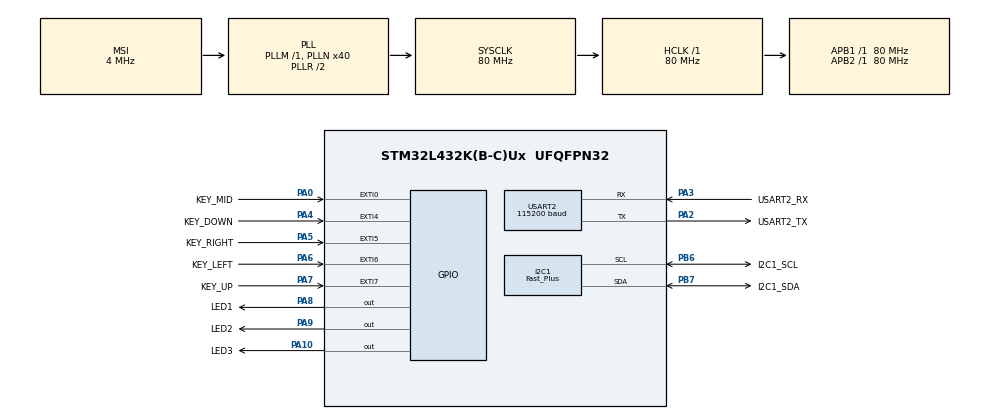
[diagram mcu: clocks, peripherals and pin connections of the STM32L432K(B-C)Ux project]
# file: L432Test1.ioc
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FREERTOS.INCLUDE_xTaskGetHandle=1
FREERTOS.Tasks01=defaultTask,0,128,StartDefaultTask,Default,NULL
FREERTOS.configGENERATE_RUN_TIME_STATS=1
FREERTOS.configMINIMAL_STACK_SIZE=64
FREERTOS.configUSE_STATS_FORMATTING_FUNCTIONS=1
FREERTOS.configUSE_TRACE_FACILITY=1
I2C1.I2C_Fall_Time=2
I2C1.I2C_Rise_Time=1
I2C1.I2C_Speed_Mode=I2C_Fast_Plus
I2C1.Timing=0x00400F33
Mcu.Family=STM32L4
Mcu.Name=STM32L432K(B-C)Ux
Mcu.Package=UFQFPN32
NVIC.EXTI0_IRQn=true\:4\:0\:true\:false\:true\:false\:true
NVIC.EXTI4_IRQn=true\:4\:0\:true\:false\:true\:false\:true
NVIC.EXTI9_5_IRQn=true\:4\:0\:true\:false\:true\:false\:true
NVIC.PriorityGroup=NVIC_PRIORITYGROUP_4
NVIC.TIM1_UP_TIM16_IRQn=true\:0\:0\:false\:false\:true\:false\:false
NVIC.TIM2_IRQn=true\:5\:0\:false\:false\:true\:true\:true
NVIC.TimeBase=TIM1_UP_TIM16_IRQn
NVIC.TimeBaseIP=TIM1
NVIC.USART2_IRQn=true\:4\:0\:true\:false\:true\:false\:true
PA0.GPIO_Label=KEY_MID
PA0.GPIO_ModeDefaultEXTI=GPIO_MODE_IT_RISING_FALLING
PA0.GPIO_PuPd=GPIO_PULLUP
PA0.Signal=GPXTI0
PA10.GPIO_Label=LED3
PA10.PinState=GPIO_PIN_SET
PA10.Signal=GPIO_Output
PA13\ (JTMS-SWDIO).Mode=Serial_Wire
PA13\ (JTMS-SWDIO).Signal=SYS_JTMS-SWDIO
PA14\ (JTCK-SWCLK).Mode=Serial_Wire
PA14\ (JTCK-SWCLK).Signal=SYS_JTCK-SWCLK
PA2.GPIO_Label=USART2_TX
PA2.Mode=Asynchronous
PA2.Signal=USART2_TX
PA3.GPIO_Label=USART2_RX
PA3.Mode=Asynchronous
PA3.Signal=USART2_RX
PA4.GPIO_Label=KEY_DOWN
PA4.GPIO_ModeDefaultEXTI=GPIO_MODE_IT_RISING_FALLING
PA4.GPIO_PuPd=GPIO_PULLUP
PA4.Signal=GPXTI4
PA5.GPIO_Label=KEY_RIGHT
PA5.GPIO_ModeDefaultEXTI=GPIO_MODE_IT_RISING_FALLING
PA5.GPIO_PuPd=GPIO_PULLUP
PA5.Signal=GPXTI5
PA6.GPIO_Label=KEY_LEFT
PA6.GPIO_ModeDefaultEXTI=GPIO_MODE_IT_RISING_FALLING
PA6.GPIO_PuPd=GPIO_PULLUP
PA6.Signal=GPXTI6
PA7.GPIO_Label=KEY_UP
PA7.GPIO_ModeDefaultEXTI=GPIO_MODE_IT_RISING_FALLING
PA7.GPIO_PuPd=GPIO_PULLUP
PA7.Signal=GPXTI7
PA8.GPIO_Label=LED1
PA8.PinState=GPIO_PIN_SET
PA8.Signal=GPIO_Output
PA9.GPIO_Label=LED2
PA9.PinState=GPIO_PIN_SET
PA9.Signal=GPIO_Output
PB6.GPIO_Label=I2C1_SCL
PB6.Mode=I2C
PB6.Signal=I2C1_SCL
PB7.GPIO_Label=I2C1_SDA
PB7.Mode=I2C
PB7.Signal=I2C1_SDA
PC14-OSC32_IN\ (PC14).Mode=LSE-External-Oscillator
PC14-OSC32_IN\ (PC14).Signal=RCC_OSC32_IN
PC15-OSC32_OUT\ (PC15).Mode=LSE-External-Oscillator
PC15-OSC32_OUT\ (PC15).Signal=RCC_OSC32_OUT
ProjectManager.HeapSize=0x200
ProjectManager.StackSize=0x400
ProjectManager.TargetToolchain=EWARM V8
RCC.ADCFreq_Value=16000000
RCC.AHBFreq_Value=80000000
RCC.APB1Freq_Value=80000000
RCC.APB1TimFreq_Value=80000000
RCC.APB2Freq_Value=80000000
RCC.APB2TimFreq_Value=80000000
RCC.CortexFreq_Value=80000000
RCC.HCLKFreq_Value=80000000
RCC.HSE_VALUE=8000000
RCC.HSI48_VALUE=48000000
RCC.HSI_VALUE=16000000
RCC.MSI_VALUE=4000000
RCC.PLLN=40
RCC.RTCClockSelection=RCC_RTCCLKSOURCE_LSE
RCC.SYSCLKFreq_VALUE=80000000
RCC.SYSCLKSource=RCC_SYSCLKSOURCE_PLLCLK
RCC.USBFreq_Value=16000000
RCC.VCOOutputFreq_Value=160000000
RTC.Date=20
RTC.Format=RTC_FORMAT_BIN
RTC.HourFormat=RTC_HOURFORMAT_24
RTC.Hours=8
RTC.Minutes=50
RTC.Month=RTC_MONTH_NOVEMBER
RTC.Seconds=0
RTC.WeekDay=RTC_WEEKDAY_TUESDAY
RTC.Year=18
TIM2.Period=49
TIM2.Prescaler=89
USART2.BaudRate=115200
USART2.VirtualMode-Asynchronous=VM_ASYNC
VP_FREERTOS_VS_ENABLE.Mode=Enabled
VP_RTC_VS_RTC_Activate.Mode=RTC_Enabled
VP_RTC_VS_RTC_Calendar.Mode=RTC_Calendar
VP_RTC_VS_RTC_WakeUp_intern.Mode=WakeUp
VP_SYS_VS_tim1.Mode=TIM1
VP_TIM2_VS_ClockSourceINT.Mode=Internal
board=custom

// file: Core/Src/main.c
/**
  ******************************************************************************
  * @file           : main.c
  * @brief          : Main program body
  ******************************************************************************
  * This notice applies to any and all portions of this file
  * that are not between comment pairs USER CODE BEGIN and
  * USER CODE END. Other portions of this file, whether
  * inserted by the user or by software development tools
  * are owned by their respective copyright owners.
  *
  * Copyright (c) 2018 STMicroelectronics International N.V.
  * All rights reserved.
  *
  * Redistribution and use in source and binary forms, with or without
  * modification, are permitted, provided that the following conditions are met:
  *
  * 1. Redistribution of source code must retain the above copyright notice,
  *    this list of conditions and the following disclaimer.
  * 2. Redistributions in binary form must reproduce the above copyright notice,
  *    this list of conditions and the following disclaimer in the documentation
  *    and/or other materials provided with the distribution.
  * 3. Neither the name of STMicroelectronics nor the names of other
  *    contributors to this software may be used to endorse or promote products
  *    derived from this software without specific written permission.
  * 4. This software, including modifications and/or derivative works of this
  *    software, must execute solely and exclusively on microcontroller or
  *    microprocessor devices manufactured by or for STMicroelectronics.
  * 5. Redistribution and use of this software other than as permitted under
  *    this license is void and will automatically terminate your rights under
  *    this license.
  *
  * THIS SOFTWARE IS PROVIDED BY STMICROELECTRONICS AND CONTRIBUTORS "AS IS"
  * AND ANY EXPRESS, IMPLIED OR STATUTORY WARRANTIES, INCLUDING, BUT NOT
  * LIMITED TO, THE IMPLIED WARRANTIES OF MERCHANTABILITY, FITNESS FOR A
  * PARTICULAR PURPOSE AND NON-INFRINGEMENT OF THIRD PARTY INTELLECTUAL PROPERTY
  * RIGHTS ARE DISCLAIMED TO THE FULLEST EXTENT PERMITTED BY LAW. IN NO EVENT
  * SHALL STMICROELECTRONICS OR CONTRIBUTORS BE LIABLE FOR ANY DIRECT, INDIRECT,
  * INCIDENTAL, SPECIAL, EXEMPLARY, OR CONSEQUENTIAL DAMAGES (INCLUDING, BUT NOT
  * LIMITED TO, PROCUREMENT OF SUBSTITUTE GOODS OR SERVICES; LOSS OF USE, DATA,
  * OR PROFITS; OR BUSINESS INTERRUPTION) HOWEVER CAUSED AND ON ANY THEORY OF
  * LIABILITY, WHETHER IN CONTRACT, STRICT LIABILITY, OR TORT (INCLUDING
  * NEGLIGENCE OR OTHERWISE) ARISING IN ANY WAY OUT OF THE USE OF THIS SOFTWARE,
  * EVEN IF ADVISED OF THE POSSIBILITY OF SUCH DAMAGE.
  *
  ******************************************************************************
  */
#include "main.h"
#include "stm32l4xx_hal.h"
#include "cmsis_os.h"
#include "i2c.h"
#include "rtc.h"
#include "tim.h"
#include "usart.h"
#include "gpio.h"

/* USER CODE BEGIN Includes */
#include "oled.h"
#include "flash.h"
/* USER CODE END Includes */

/* USER CODE BEGIN PV */
/* Private variables ---------------------------------------------------------*/

/* USER CODE END PV */

void SystemClock_Config(void);
void MX_FREERTOS_Init(void);

/* USER CODE BEGIN PFP */
/* Private function prototypes -----------------------------------------------*/

struct Key_Struct
{
    struct KeyTime_Struct
    {
//        uint32_t *Now;
        uint32_t Last;
    }Time;
    enum
    {
        Press,
        Release,
    }PrimaryState;
    enum
    {
        NoPressed,
        ShortPressed,
        DoublePressed,
        LongPressed,
    }FinalyState;
}KeyUp, KeyDown, KeyMid, KeyLeft, KeyRight;
/* USER CODE END PFP */

int main(void)
{

  /* MCU Configuration----------------------------------------------------------*/

  /* Reset of all peripherals, Initializes the Flash interface and the Systick. */
  HAL_Init();

  /* Configure the system clock */
  SystemClock_Config();

  /* Initialize all configured peripherals */
  MX_GPIO_Init();
  MX_I2C1_Init();
  MX_USART2_UART_Init();
  MX_TIM2_Init();
  MX_RTC_Init();
  /* USER CODE BEGIN 2 */
  HAL_UART_Receive_IT(&huart2, UartRec, 1);
  OLED_Init();
  Init_MPU9250();
  /* USER CODE END 2 */

  /* Call init function for freertos objects (in freertos.c) */
  MX_FREERTOS_Init();

  /* Start scheduler */
  osKernelStart();

  /* We should never get here as control is now taken by the scheduler */

  /* Infinite loop */
    while (1)
    {

    }

}

void SystemClock_Config(void)
{

  RCC_OscInitTypeDef RCC_OscInitStruct;
  RCC_ClkInitTypeDef RCC_ClkInitStruct;
  RCC_PeriphCLKInitTypeDef PeriphClkInit;

    /**Configure LSE Drive Capability
    */
  HAL_PWR_EnableBkUpAccess();

  __HAL_RCC_LSEDRIVE_CONFIG(RCC_LSEDRIVE_LOW);

    /**Initializes the CPU, AHB and APB busses clocks
    */
  RCC_OscInitStruct.OscillatorType = RCC_OSCILLATORTYPE_LSE|RCC_OSCILLATORTYPE_MSI;
  RCC_OscInitStruct.LSEState = RCC_LSE_ON;
  RCC_OscInitStruct.MSIState = RCC_MSI_ON;
  RCC_OscInitStruct.MSICalibrationValue = 0;
  RCC_OscInitStruct.MSIClockRange = RCC_MSIRANGE_6;
  RCC_OscInitStruct.PLL.PLLState = RCC_PLL_ON;
  RCC_OscInitStruct.PLL.PLLSource = RCC_PLLSOURCE_MSI;
  RCC_OscInitStruct.PLL.PLLM = 1;
  RCC_OscInitStruct.PLL.PLLN = 40;
  RCC_OscInitStruct.PLL.PLLP = RCC_PLLP_DIV7;
  RCC_OscInitStruct.PLL.PLLQ = RCC_PLLQ_DIV2;
  RCC_OscInitStruct.PLL.PLLR = RCC_PLLR_DIV2;
  if (HAL_RCC_OscConfig(&RCC_OscInitStruct) != HAL_OK)
  {
    _Error_Handler(__FILE__, __LINE__);
  }

    /**Initializes the CPU, AHB and APB busses clocks
    */
  RCC_ClkInitStruct.ClockType = RCC_CLOCKTYPE_HCLK|RCC_CLOCKTYPE_SYSCLK
                              |RCC_CLOCKTYPE_PCLK1|RCC_CLOCKTYPE_PCLK2;
  RCC_ClkInitStruct.SYSCLKSource = RCC_SYSCLKSOURCE_PLLCLK;
  RCC_ClkInitStruct.AHBCLKDivider = RCC_SYSCLK_DIV1;
  RCC_ClkInitStruct.APB1CLKDivider = RCC_HCLK_DIV1;
  RCC_ClkInitStruct.APB2CLKDivider = RCC_HCLK_DIV1;

  if (HAL_RCC_ClockConfig(&RCC_ClkInitStruct, FLASH_LATENCY_4) != HAL_OK)
  {
    _Error_Handler(__FILE__, __LINE__);
  }

  PeriphClkInit.PeriphClockSelection = RCC_PERIPHCLK_RTC|RCC_PERIPHCLK_USART2
                              |RCC_PERIPHCLK_I2C1;
  PeriphClkInit.Usart2ClockSelection = RCC_USART2CLKSOURCE_PCLK1;
  PeriphClkInit.I2c1ClockSelection = RCC_I2C1CLKSOURCE_PCLK1;
  PeriphClkInit.RTCClockSelection = RCC_RTCCLKSOURCE_LSE;
  if (HAL_RCCEx_PeriphCLKConfig(&PeriphClkInit) != HAL_OK)
  {
    _Error_Handler(__FILE__, __LINE__);
  }

    /**Configure the main internal regulator output voltage
    */
  if (HAL_PWREx_ControlVoltageScaling(PWR_REGULATOR_VOLTAGE_SCALE1) != HAL_OK)
  {
    _Error_Handler(__FILE__, __LINE__);
  }

    /**Configure the Systick interrupt time
    */
  HAL_SYSTICK_Config(HAL_RCC_GetHCLKFreq()/1000);

    /**Configure the Systick
    */
  HAL_SYSTICK_CLKSourceConfig(SYSTICK_CLKSOURCE_HCLK);

    /**Enable MSI Auto calibration
    */
  HAL_RCCEx_EnableMSIPLLMode();

  /* SysTick_IRQn interrupt configuration */
  HAL_NVIC_SetPriority(SysTick_IRQn, 15, 0);
}

/* USER CODE BEGIN 4 */
#define Is_ShortPress_Threshold   1500

PressKeyValue JudgeKey(GPIO_TypeDef* GPIOx, uint16_t GPIO_Pin)
{
    struct Key_Struct *key_state;
    key_state = &KeyLeft;
    if(key_state->PrimaryState == Release)   // 上次为释放
    {
        if(HAL_GPIO_ReadPin(GPIOx, GPIO_Pin) == GPIO_PIN_RESET)    // 中断为下降沿触发
        {
            key_state->PrimaryState = Press;
            key_state->Time.Last = uwTick;
        }
    }
    else if(key_state->PrimaryState == Press)
    {
        if(HAL_GPIO_ReadPin(GPIOx, GPIO_Pin) == GPIO_PIN_SET)
        {
            if((uwTick - key_state->Time.Last > 10)&&
               (uwTick - key_state->Time.Last < Is_ShortPress_Threshold))
            {
                key_state->FinalyState = ShortPressed;
                key_state->PrimaryState = Release;
                switch(GPIO_Pin)
                {
                    case KEY_UP_Pin:        return PressUp;
                    case KEY_DOWN_Pin:      return PressDown;
                    case KEY_MID_Pin:       return PressMid;
                    case KEY_LEFT_Pin:      return PressLeft;
                    case KEY_RIGHT_Pin:     return PressRight;
                }

            }
            else if(uwTick - key_state->Time.Last > Is_ShortPress_Threshold)
            {
                key_state->FinalyState = LongPressed;
                key_state->PrimaryState = Release;
                switch(GPIO_Pin)
                {
                    case KEY_UP_Pin:        return PressUp;
                    case KEY_DOWN_Pin:      return PressDown;
                    case KEY_MID_Pin:       return PressMid;
                    case KEY_LEFT_Pin:      return PressLeft;
                    case KEY_RIGHT_Pin:     return PressRight;
                }
            }
            else
            {
                key_state->PrimaryState = Release;
                return PressNull;
            }
        }
    }
}
void HAL_GPIO_EXTI_Callback(uint16_t GPIO_Pin)
{
    switch (GPIO_Pin)
    {
        case KEY_UP_Pin:
            KeyValue = JudgeKey(KEY_UP_GPIO_Port, KEY_UP_Pin);
            break;

        case KEY_DOWN_Pin:
            KeyValue = JudgeKey(KEY_DOWN_GPIO_Port, KEY_DOWN_Pin);
            break;

        case KEY_MID_Pin:
            KeyValue = JudgeKey(KEY_MID_GPIO_Port, KEY_MID_Pin);
            break;

        case KEY_LEFT_Pin:
            KeyValue = JudgeKey(KEY_LEFT_GPIO_Port, KEY_LEFT_Pin);
            break;

        case KEY_RIGHT_Pin:
            KeyValue = JudgeKey(KEY_RIGHT_GPIO_Port, KEY_RIGHT_Pin);
            break;
    }
}
/* USER CODE END 4 */

void HAL_TIM_PeriodElapsedCallback(TIM_HandleTypeDef *htim)
{
  if (htim->Instance == TIM1) {
    HAL_IncTick();
  }
}

void _Error_Handler(char *file, int line)
{
    while (1)
    {
    }
}

/************************ (C) COPYRIGHT STMicroelectronics *****END OF FILE****/

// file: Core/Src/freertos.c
/* USER CODE BEGIN Header */
/**
  ******************************************************************************
  * File Name          : freertos.c
  * Description        : Code for freertos applications
  ******************************************************************************
  * This notice applies to any and all portions of this file
  * that are not between comment pairs USER CODE BEGIN and
  * USER CODE END. Other portions of this file, whether
  * inserted by the user or by software development tools
  * are owned by their respective copyright owners.
  *
  * Copyright (c) 2018 STMicroelectronics International N.V.
  * All rights reserved.
  *
  * Redistribution and use in source and binary forms, with or without
  * modification, are permitted, provided that the following conditions are met:
  *
  * 1. Redistribution of source code must retain the above copyright notice,
  *    this list of conditions and the following disclaimer.
  * 2. Redistributions in binary form must reproduce the above copyright notice,
  *    this list of conditions and the following disclaimer in the documentation
  *    and/or other materials provided with the distribution.
  * 3. Neither the name of STMicroelectronics nor the names of other
  *    contributors to this software may be used to endorse or promote products
  *    derived from this software without specific written permission.
  * 4. This software, including modifications and/or derivative works of this
  *    software, must execute solely and exclusively on microcontroller or
  *    microprocessor devices manufactured by or for STMicroelectronics.
  * 5. Redistribution and use of this software other than as permitted under
  *    this license is void and will automatically terminate your rights under
  *    this license.
  *
  * THIS SOFTWARE IS PROVIDED BY STMICROELECTRONICS AND CONTRIBUTORS "AS IS"
  * AND ANY EXPRESS, IMPLIED OR STATUTORY WARRANTIES, INCLUDING, BUT NOT
  * LIMITED TO, THE IMPLIED WARRANTIES OF MERCHANTABILITY, FITNESS FOR A
  * PARTICULAR PURPOSE AND NON-INFRINGEMENT OF THIRD PARTY INTELLECTUAL PROPERTY
  * RIGHTS ARE DISCLAIMED TO THE FULLEST EXTENT PERMITTED BY LAW. IN NO EVENT
  * SHALL STMICROELECTRONICS OR CONTRIBUTORS BE LIABLE FOR ANY DIRECT, INDIRECT,
  * INCIDENTAL, SPECIAL, EXEMPLARY, OR CONSEQUENTIAL DAMAGES (INCLUDING, BUT NOT
  * LIMITED TO, PROCUREMENT OF SUBSTITUTE GOODS OR SERVICES; LOSS OF USE, DATA,
  * OR PROFITS; OR BUSINESS INTERRUPTION) HOWEVER CAUSED AND ON ANY THEORY OF
  * LIABILITY, WHETHER IN CONTRACT, STRICT LIABILITY, OR TORT (INCLUDING
  * NEGLIGENCE OR OTHERWISE) ARISING IN ANY WAY OUT OF THE USE OF THIS SOFTWARE,
  * EVEN IF ADVISED OF THE POSSIBILITY OF SUCH DAMAGE.
  *
  ******************************************************************************
  */
/* USER CODE END Header */

#include "FreeRTOS.h"
#include "task.h"
#include "main.h"
#include "cmsis_os.h"

/* USER CODE BEGIN Includes */
#include "stm32l4xx_hal.h"
#include "oled.h"
#include "rtc.h"
#include "snake.h"
#include "mpu9250.h"
/* USER CODE END Includes */

/* USER CODE BEGIN Variables */
volatile uint8_t KeyValue = 0;

    /* 任务句柄定义 */
void ShowPose(void);
void AdjustBrightness(void);
void AdjustTime(void);

int16_t g_x, g_y, g_z, a_x, a_y, a_z;
osThreadId readKey_Handle;
osThreadId showUI_Handle;
osThreadId showTime_Handle;
osThreadId poseControl_Handle;

osThreadId snakeTimer_Handle;

    /* 信号量定义 */
osSemaphoreId keyPressed_BinSemHandle;
osSemaphoreId snake_BinSemHandle;

/* USER CODE END Variables */
osThreadId defaultTaskHandle;

/* USER CODE BEGIN FunctionPrototypes */

    /* 任务定义 */
void readKey_Task(void const * argument);
void showUI_Task(void const * argument);
void showTime_Task(void const * argument);
void poseControl_Task(void const * argument);

void snakeTimer_Task(void const * argument);

/* USER CODE END FunctionPrototypes */

void StartDefaultTask(void const * argument);

void MX_FREERTOS_Init(void); /* (MISRA C 2004 rule 8.1) */

/* Hook prototypes */
void configureTimerForRunTimeStats(void);
unsigned long getRunTimeCounterValue(void);

/* USER CODE BEGIN 1 */
/* Functions needed when configGENERATE_RUN_TIME_STATS is on */
__weak void configureTimerForRunTimeStats(void)
{

}

__weak unsigned long getRunTimeCounterValue(void)
{
    return 0;
}
/* USER CODE END 1 */

void MX_FREERTOS_Init(void) {

  /* Create the thread(s) */
  /* definition and creation of defaultTask */
  osThreadDef(defaultTask, StartDefaultTask, osPriorityNormal, 0, 128);
  defaultTaskHandle = osThreadCreate(osThread(defaultTask), NULL);

  /* USER CODE BEGIN RTOS_THREADS */
    /* add threads, ... */
    osThreadDef(readKey,        readKey_Task,       osPriorityNormal,       0, 32);
    osThreadDef(showUI,         showUI_Task,        osPriorityNormal,       0, 160);
    osThreadDef(poseControl,    poseControl_Task,   osPriorityAboveNormal,       0, 80);

    osThreadDef(snakeTimer, snakeTimer_Task, osPriorityAboveNormal, 0, 128);

    osSemaphoreDef(keyPressed_BinSem);
    osSemaphoreDef(snake_BinSem);
  /* USER CODE END RTOS_THREADS */

  /* USER CODE BEGIN RTOS_QUEUES */
    /* add queues, ... */
    readKey_Handle      = osThreadCreate(osThread(readKey),     NULL);
    showUI_Handle       = osThreadCreate(osThread(showUI),      NULL);
    poseControl_Handle  = osThreadCreate(osThread(poseControl), NULL);

    snakeTimer_Handle = osThreadCreate(osThread(snakeTimer), NULL);
//    showTime_Handle = osThreadCreate(osThread(showTime),    NULL);
    osThreadSuspend(snakeTimer_Handle);

    keyPressed_BinSemHandle =   osSemaphoreCreate(osSemaphore(keyPressed_BinSem), 1);
    snake_BinSemHandle =        osSemaphoreCreate(osSemaphore(snake_BinSem), 1);

  /* USER CODE END RTOS_QUEUES */
}

void StartDefaultTask(void const * argument)
{

  /* USER CODE BEGIN StartDefaultTask */
    /* Infinite loop */
    for (;;)
    {
        osDelay(500);
        printf("tick:%d\r\n", uwTick);
//        HAL_GPIO_TogglePin(LED3_GPIO_Port, LED3_Pin);
    }
  /* USER CODE END StartDefaultTask */
}

/* USER CODE BEGIN Application */

void readKey_Task(void const * argument)
{

    for (;;)
    {
        osDelay(1000);
//        if (HAL_GPIO_ReadPin(KEY_UP_GPIO_Port,      KEY_UP_Pin)     == GPIO_PIN_RESET ||
//            HAL_GPIO_ReadPin(KEY_DOWN_GPIO_Port,    KEY_DOWN_Pin)   == GPIO_PIN_RESET ||
//            HAL_GPIO_ReadPin(KEY_MID_GPIO_Port,     KEY_MID_Pin)    == GPIO_PIN_RESET ||
//            HAL_GPIO_ReadPin(KEY_LEFT_GPIO_Port,    KEY_LEFT_Pin)   == GPIO_PIN_RESET ||
//            HAL_GPIO_ReadPin(KEY_RIGHT_GPIO_Port,   KEY_RIGHT_Pin)  == GPIO_PIN_RESET)
//        {
//            osDelay(10);
//            if (HAL_GPIO_ReadPin(KEY_UP_GPIO_Port, KEY_UP_Pin) == GPIO_PIN_RESET)
//            {
//                HAL_GPIO_TogglePin(LED1_GPIO_Port, LED1_Pin);
//                KeyValue = PressUp;
//
//
//            }
//            else if (HAL_GPIO_ReadPin(KEY_DOWN_GPIO_Port, KEY_DOWN_Pin) == GPIO_PIN_RESET)
//            {
//                HAL_GPIO_TogglePin(LED1_GPIO_Port, LED1_Pin);
//                KeyValue = PressDown;
//
//
//            }
//            else if (HAL_GPIO_ReadPin(KEY_MID_GPIO_Port, KEY_MID_Pin) == GPIO_PIN_RESET)
//            {
//                HAL_GPIO_TogglePin(LED1_GPIO_Port, LED1_Pin);
//                KeyValue = PressMid;
//
//
//            }
//            else if (HAL_GPIO_ReadPin(KEY_LEFT_GPIO_Port, KEY_LEFT_Pin) == GPIO_PIN_RESET)
//            {
//                HAL_GPIO_TogglePin(LED1_GPIO_Port, LED1_Pin);
//                KeyValue = PressLeft;
//
//
//            }
//            else if (HAL_GPIO_ReadPin(KEY_RIGHT_GPIO_Port, KEY_RIGHT_Pin) == GPIO_PIN_RESET)
//            {
//                HAL_GPIO_TogglePin(LED1_GPIO_Port, LED1_Pin);
//                KeyValue = PressRight;
//
//
//            }
//            else
//            {
//                KeyValue = PressNull;
//            }
//
//            osSemaphoreRelease(keyPressed_BinSemHandle);
//            while  (HAL_GPIO_ReadPin(KEY_UP_GPIO_Port,      KEY_UP_Pin)     == GPIO_PIN_RESET ||
//                    HAL_GPIO_ReadPin(KEY_DOWN_GPIO_Port,    KEY_DOWN_Pin)   == GPIO_PIN_RESET ||
//                    HAL_GPIO_ReadPin(KEY_MID_GPIO_Port,     KEY_MID_Pin)    == GPIO_PIN_RESET ||
//                    HAL_GPIO_ReadPin(KEY_LEFT_GPIO_Port,    KEY_LEFT_Pin)   == GPIO_PIN_RESET ||
//                    HAL_GPIO_ReadPin(KEY_RIGHT_GPIO_Port,   KEY_RIGHT_Pin)  == GPIO_PIN_RESET);
//        }
//        else
//        {
//            KeyValue = PressNull;
//        }
    }
}

void showUI_Task(void const * argument)
{

    HAL_GPIO_TogglePin(LED1_GPIO_Port, LED1_Pin);

    int8_t uiCase = -1;

    for (;;)
    {
        osDelay(30);
//        osSemaphoreWait(keyPressed_BinSemHandle, osWaitForever);
        switch (KeyValue)
        {
            case PressUp:
            {
                if (uiCase<0)
                {
                    uiCase--;
                }
                else if (uiCase<10)
                {
                    uiCase--;
                    uiCase = uiCase<1 ? 5:uiCase;
                }
                else if (uiCase<100)
                {
                    if (uiCase<20)
                        uiCase = 10;
                    else if (uiCase<30)
                        uiCase = 20;
                    else if (uiCase<40)
                    {
                        if (uiCase>30)
                            uiCase--;
                    }
                    else if (uiCase<50)
                    {
                        if (uiCase>40)
                            uiCase--;
                    }
                    else if (uiCase<60)
                    {
                        if (uiCase>50)
                            uiCase--;
                    }
                }

                break;
            }

            case PressDown:
            {
                if (uiCase<0)
                {
                    uiCase++;
                }
                else if (uiCase<10)
                {
                    uiCase++;
                    uiCase = uiCase>5 ? 1:uiCase;
                }
                else if (uiCase<100)
                {
                    if (uiCase<20)
                        uiCase = 10;
                    else if (uiCase<30)
                        uiCase = 20;
                    else if (uiCase<40)
                    {
                        if (uiCase<31)
                            uiCase++;
                    }
                    else if (uiCase<50)
                    {
                        if (uiCase<41)
                            uiCase++;
                    }
                    else if (uiCase<60)
                    {
                        if (uiCase<53)
                            uiCase++;
                    }
                }

                break;

            }

            case PressMid:
            {
                switch (uiCase)
                {
                    case 1: case 2: case 3: case 4: case 5:
                        uiCase *= 10;
                        break;

                    case 30:
                        ShowPose();
                        break;

                    case 40:
                        Snake_Start();
                        break;

                    case 50:
                        AdjustBrightness();
                        break;

                    case 51:
                        AdjustTime();
                        break;
                }
                break;
            }

            case PressLeft:
            {
                if (uiCase<0)
                {

                }
                else if (uiCase<10)
                {
                    uiCase = -uiCase;

                }
                else if (uiCase<100)
                {
//                    if (uiCase%10==0)
                        uiCase /= 10;
//                    else
//                        uiCase--;
                }
                break;
            }

            case PressRight:
            {
                if (uiCase<0)
                {
                    uiCase = 1;
                }
                else if (uiCase<10)
                {
                    uiCase *= 10;
                }
                else if (uiCase<100)
                {
//                    uiCase++;
                }
                break;
            }
        }
        KeyValue = PressNull;
        OLED_Clear();
        if (uiCase < 0)
        {
            UI_ShowTime(-uiCase);
            uiCase = 1;
        }

        switch (uiCase)
        {

            case 1:
                OLED_Show_StrAll(24, 95, 16, "拨 号", 1);
                OLED_Show_Pic(11, 25, IMG64[uiCase-1], 64, 64, 1);
                break;
            case 2:
                OLED_Show_StrAll(24, 95, 16, "影 音", 1);
                OLED_Show_Pic(11, 25, IMG64[uiCase-1], 64, 64, 1);
                break;
            case 3:
                OLED_Show_StrAll(24, 95, 16, "设 备", 1);
                OLED_Show_Pic(11, 25, IMG64[uiCase-1], 64, 64, 1);
                break;
            case 4:
                OLED_Show_StrAll(24, 95, 16, "游 戏", 1);
                OLED_Show_Pic(11, 25, IMG64[uiCase-1], 64, 64, 1);
                break;
            case 5:
                OLED_Show_StrAll(24, 95, 16, "设 置", 1);
                OLED_Show_Pic(11, 25, IMG64[uiCase-1], 64, 64, 1);
                break;

            case 10: case 20: case 31: case 41: case 53:
                OLED_Show_Pic(20, 30, IMG48[4], 48, 48, 1);
                OLED_Show_StrAll(12, 95, 16, "待 开 发", 1);
                break;

            case 30:
                OLED_Show_StrAll(24, 0, 16, "设 备", 1);
                OLED_Show_Pic(20, 30, IMG48[5], 48, 48, 1);
                OLED_Show_StrAll(24, 95, 16, "姿 态", 1);
                break;

            case 40:
                OLED_Show_StrAll(24, 0, 16, "游 戏", 1);
                OLED_Show_Pic(20, 30, IMG48[0], 48, 48, 1);
                OLED_Show_StrAll(12, 95, 16, "贪 吃 蛇", 1);
                break;

            case 50:
                OLED_Show_StrAll(24, 0, 16, "设 置", 1);
                OLED_Show_Pic(20, 30, IMG48[1], 48, 48, 1);
                OLED_Show_StrAll(24, 95, 16, "亮 度", 1);
                break;

            case 51:
                OLED_Show_StrAll(24, 0, 16, "设 置", 1);
                OLED_Show_Pic(20, 30, IMG48[3], 48, 48, 1);
                OLED_Show_StrAll(24, 95, 16, "时 间", 1);
                break;

            case 52:
                OLED_Show_StrAll(24, 0, 16, "设 置", 1);
                OLED_Show_Pic(20, 30, IMG48[2], 48, 48, 1);
                OLED_Show_StrAll(24, 95, 16, "关 于", 1);
                break;
        }

        OLED_Refresh_Gram();
    }
}

void poseControl_Task(void const * argument)
{

    uint16_t immobileCount = 0;
    uint8_t immobile = 0;
    for (;;)
    {

        HAL_GPIO_TogglePin(LED3_GPIO_Port, LED3_Pin);

//
//        if (g_x == 0 &&
//            g_y == 0 &&
//            g_y == 0
//            )
//        {
//            immobileCount++;
//            if (immobileCount > 20 && immobile == 0)
//            {
//
//                osThreadSuspend(showUI_Handle);
//                OLED_Clear();
//                OLED_Refresh_Gram();
//                immobile = 1;
//            }
//        }
//        else if (immobile == 1)
//        {
//            osThreadResume(showUI_Handle);
//            immobile = 0;
//        }
        osDelay(50);
    }
}

void UI_ShowTime(uint8_t num)
{
    uint8_t i = 0;
    uint16_t immobileCount = 0;
    uint8_t immobile = 0;
    for (;;)
    {
        HAL_RTC_GetTime(&hrtc, &timeStructure, RTC_FORMAT_BIN);
        HAL_RTC_GetDate(&hrtc, &dateStructure, RTC_FORMAT_BIN);

        char str[20] = {0};
//        sprintf(str, "%4d.%02d.%02d", 2000 + dateStructure.Year, dateStructure.Month, dateStructure.Date);
//        OLED_Show_StrAll(0, 0, 16, str, 1);
//        sprintf(str, "%02d:%02d:%02d", timeStructure.Hours, timeStructure.Minutes, timeStructure.Seconds);
//        OLED_Show_StrAll(0, 16, 16, str, 1);

        OLED_Show_Num(20, 4, 48, '0'+timeStructure.Hours/10, 1);
        OLED_Show_Num(44, 4, 48, '0'+timeStructure.Hours%10, 1);

        OLED_Show_Num(20, 46, 48, '0'+timeStructure.Minutes/10, 1);
        OLED_Show_Num(44, 46, 48, '0'+timeStructure.Minutes%10, 1);

        sprintf(str, "%02d", timeStructure.Seconds);
        OLED_Show_StrAll(72, 72, 16, str, 1);

        char weekDay[2] = {0};
        switch (dateStructure.WeekDay)
        {
            case RTC_WEEKDAY_MONDAY:    sprintf(weekDay, "一"); break;
            case RTC_WEEKDAY_TUESDAY:   sprintf(weekDay, "二"); break;
            case RTC_WEEKDAY_WEDNESDAY: sprintf(weekDay, "三"); break;
            case RTC_WEEKDAY_THURSDAY:  sprintf(weekDay, "四"); break;
            case RTC_WEEKDAY_FRIDAY:    sprintf(weekDay, "五"); break;
            case RTC_WEEKDAY_SATURDAY:  sprintf(weekDay, "六"); break;
            case RTC_WEEKDAY_SUNDAY:    sprintf(weekDay, "日"); break;
        }
        sprintf(str, "%02d/%02d 周%s", dateStructure.Month, dateStructure.Date, weekDay);
        OLED_Show_StrAll(4, 104, 16, str, 1);
//        OLED_Write(0xAE, OLED_CMD);
//
        i++;
        if (i == 250)
            i = 0;
//        OLED_Write(0xAE, OLED_CMD);

//        OLED_Write(0xAF, OLED_CMD);

//        OLED_Write(0xAF, OLED_CMD);
        if (KeyValue == PressRight)
        {
            break;
        }
//        switch (KeyValue)
//        {
//            case PressUp:
//
//                break;
//
//            case PressDown:
//
//                break;
//
//            case PressMid:
//
//                break;
//
//            case PressLeft:
//
//                break;
//
//            case PressRight:
//                return;
//                break;
//        }

//        char str[20] = {0};

//        READ_MPU9250_ACCEL();
//        READ_MPU9250_TEMP();
//        sprintf(str, "%4d %4.2f", (int)T_X, T_T);
//        OLED_Show_StrAll(0, 110, 16, str, 1);

        READ_MPU9250_GYRO();
        g_x = T_X;
        g_y = T_Y;
        g_z = T_Z;
        READ_MPU9250_ACCEL();
        a_x = T_X;
        a_y = T_Y;
        a_z = T_Z;
//        printf("%5d %5d %5d\r\n", g_x, g_y, g_z);
//        printf("%5d %5d %5d\r\n\r\n", a_x, a_y, a_z);

//        if (
//            immobile == 0 &&
//            abs(g_x) < 30 &&
//            abs(g_y) < 30 &&
//            abs(g_z) < 30
//            )
//        {
//            immobileCount++;
//            if (immobileCount > 30 && immobile == 0)
//            {
//
////                osThreadSuspend(showUI_Handle);
//                OLED_Clear();
//
//                immobile = 1;
//            }
//        }
//        else
//        {
//            immobileCount = 0;
//        }
//
//        if (immobile == 0 && (abs(a_x)>75 || abs(a_y) > 75))
//        {
//            immobile = 1;
//        }
//
//        if (immobile == 1)
//        {
//            // 进入睡眠模式
//            OLED_Clear();
//        }
//
//        /* 唤醒 */
//        if (immobile == 1 &&
//            ((abs(g_x)>20 || abs(g_y)>20 || abs(g_z)>20) && abs(a_x)<50 && abs(a_y)<50) )
//        {
////            osThreadResume(showUI_Handle);
//            immobile = 0;
//            immobileCount = 0;
//        }
        OLED_Refresh_Gram();
    }

}

//uint8_t ABS(int8_t num)
//{
//    if (num >= 0)
//    {
//        return num;
//    }
//    else
//    {
//        return -num;
//    }
//}

void ShowPose(void)
{
    int16_t g_x, g_y, g_z, a_x, a_y, a_z;
    float t;
    char str[20] = {0};
    OLED_Clear();
    OLED_Show_StrAll(24, 0, 16, "姿 态", 1);
    for (;;)
    {
        READ_MPU9250_GYRO();
        g_x = T_X;
        g_y = T_Y;
        g_z = T_Z;
        READ_MPU9250_ACCEL();
        a_x = T_X;
        a_y = T_Y;
        a_z = T_Z;
//        READ_MPU9250_TEMP();
//        t = (float)T_T;

        sprintf(str, "X%5d %5d", g_x, a_x);
        OLED_Show_StrAll(0, 40, 14, str, 1);
        sprintf(str, "Y%5d %5d", g_y, a_y);
        OLED_Show_StrAll(0, 60, 14, str, 1);
        sprintf(str, "Z%5d %5d", g_z, a_z);
        OLED_Show_StrAll(0, 80, 14, str, 1);

//        sprintf(str, "Temp: %2.1f", t/10);
//        OLED_Show_StrAll(0, 100, 16, str, 1);

        OLED_Refresh_Gram();

        if (KeyValue == PressLeft)
        {
            break;
        }
    }
}

void AdjustBrightness(void)
{
    uint8_t Level = WK_Flash_DataRead(0);
    uint8_t levelTemp = Level;

    OLED_Clear();
    OLED_Show_StrAll(24, 0, 16, "亮 度", 1);
    for (;;)
    {
        switch (KeyValue)
        {
            case PressUp:
                Level = Level>8 ? 8:Level;
                Level++;

                break;

            case PressDown:
                Level = Level==0 ? 1:Level;
                Level--;

                break;

            case PressLeft:
                WK_Flash_DataWrite(0, (uint64_t)Level);
                return;

        }
        OLED_Show_Num(32, 30, 64, '0' + Level, 1);
        // 暂时注释
        if (levelTemp != Level)
        {
            levelTemp = Level;
            OLED_Write(0x81, OLED_CMD);
            OLED_Write((uint8_t)Level*25, OLED_CMD);
        }

        OLED_Refresh_Gram();
    }

}

void AdjustTime(void)
{
    RTC_TimeTypeDef sTime;
    RTC_DateTypeDef sDate;

    HAL_RTC_GetTime(&hrtc, &timeStructure, RTC_FORMAT_BIN);
    HAL_RTC_GetDate(&hrtc, &dateStructure, RTC_FORMAT_BIN);

    uint8_t year = dateStructure.Year;
    uint8_t month = dateStructure.Month;
    uint8_t day = dateStructure.Date;
    uint8_t hour = timeStructure.Hours;
    uint8_t min = timeStructure.Minutes;
    uint8_t sec = timeStructure.Seconds;

    uint8_t *data;

    uint8_t select = 0;
    char str[20] = {0};
    KeyValue = 0;
    for (;;)
    {
        OLED_Clear();
        OLED_Show_StrAll(24, 0, 16, "时 间", 1);

        sprintf(str, "20%02d年", year);
        OLED_Show_StrAll(20, 35, 16, str, 1);

        sprintf(str, "%02d月%02d日", month, day);
        OLED_Show_StrAll(12, 60, 16, str, 1);

        sprintf(str, "%02d时%02d分", hour, min);
        OLED_Show_StrAll(12, 85, 16, str, 1);

        sprintf(str, "%02d秒", sec);
        OLED_Show_StrAll(44, 105, 16, str, 1);

        switch (select)
        {
            case 0: // 秒
                data = &sec;
                sprintf(str, "%02d", sec);
                OLED_Show_StrAll(44, 105, 16, str, 0);
                break;

            case 1: // 分
                data = &min;
                sprintf(str, "%02d", min);
                OLED_Show_StrAll(44, 85, 16, str, 0);
                break;

            case 2: // 时
                data = &hour;
                sprintf(str, "%02d", hour);
                OLED_Show_StrAll(12, 85, 16, str, 0);
                break;

            case 3: // 日
                data = &day;
                sprintf(str, "%02d", day);
                OLED_Show_StrAll(44, 60, 16, str, 0);
                break;

            case 4: // 月
                data = &month;
                sprintf(str, "%02d", month);
                OLED_Show_StrAll(12, 60, 16, str, 0);
                break;

            case 5: // 年
                data = &year;
                sprintf(str, "20%02d", year);
                OLED_Show_StrAll(20, 35, 16, str, 0);
                break;
        }

        switch (KeyValue)
        {
            case PressUp:
                switch (select)
                {
                    case 0: // 秒
                        (*data) = (*data)>59 ? 59:(*data);
                        break;

                    case 1: // 分
                        (*data) = (*data)>59 ? 59:(*data);
                        break;

                    case 2: // 时
                        (*data) = (*data)>23 ? 23:(*data);
                        break;

                    case 3: // 日
                        (*data) = (*data)>30 ? 30:(*data);
                        break;

                    case 4: // 月
                        (*data) = (*data)>11 ? 11:(*data);
                        break;

                    case 5: // 年
                        (*data) = (*data)>98 ? 98:(*data);
                        break;
                }
                (*data)++;
                break;

            case PressDown:
                switch (select)
                {
                    case 0: case 1: case 2: case 5:
                        (*data) = (*data)==0 ? 1:(*data);
                        break;

                    case 3: case 4:
                        (*data) = (*data)==1 ? 2:(*data);
                        break;
                }
                (*data)--;
                break;

            case PressMid:

                  sTime.Hours = hour;
                  sTime.Minutes = min;
                  sTime.Seconds = sec;
                  sTime.DayLightSaving = RTC_DAYLIGHTSAVING_NONE;
                  sTime.StoreOperation = RTC_STOREOPERATION_RESET;
                  HAL_RTC_SetTime(&hrtc, &sTime, RTC_FORMAT_BIN);

                  switch (month)
                  {
                      case  1: sDate.Month = RTC_MONTH_JANUARY;   break;
                      case  2: sDate.Month = RTC_MONTH_FEBRUARY;  break;
                      case  3: sDate.Month = RTC_MONTH_MARCH;     break;
                      case  4: sDate.Month = RTC_MONTH_APRIL;     break;
                      case  5: sDate.Month = RTC_MONTH_MAY;       break;
                      case  6: sDate.Month = RTC_MONTH_JUNE;      break;
                      case  7: sDate.Month = RTC_MONTH_JULY;      break;
                      case  8: sDate.Month = RTC_MONTH_AUGUST;    break;
                      case  9: sDate.Month = RTC_MONTH_SEPTEMBER; break;
                      case 10: sDate.Month = RTC_MONTH_OCTOBER;   break;
                      case 11: sDate.Month = RTC_MONTH_NOVEMBER;  break;
                      case 12: sDate.Month = RTC_MONTH_DECEMBER;  break;
                  }
                  sDate.WeekDay = RTC_WEEKDAY_FRIDAY;
                  sDate.Date = day;
                  sDate.Year = year;
                  HAL_RTC_SetDate(&hrtc, &sDate, RTC_FORMAT_BIN);
                  HAL_RTCEx_SetWakeUpTimer(&hrtc, 0, RTC_WAKEUPCLOCK_RTCCLK_DIV16);
                return;
                break;

            case PressLeft:
                select = select>4  ? 4:select;
                select++;
                break;

            case PressRight:
                select = select==0 ? 1:select;
                select--;
                break;

        }

        OLED_Refresh_Gram();
    }
}

PressKeyValue ReadKey(void)
{
//    if (HAL_GPIO_ReadPin(KEY_UP_GPIO_Port,      KEY_UP_Pin)     == GPIO_PIN_RESET ||
//        HAL_GPIO_ReadPin(KEY_DOWN_GPIO_Port,    KEY_DOWN_Pin)   == GPIO_PIN_RESET ||
//        HAL_GPIO_ReadPin(KEY_MID_GPIO_Port,     KEY_MID_Pin)    == GPIO_PIN_RESET ||
//        HAL_GPIO_ReadPin(KEY_LEFT_GPIO_Port,    KEY_LEFT_Pin)   == GPIO_PIN_RESET ||
//        HAL_GPIO_ReadPin(KEY_RIGHT_GPIO_Port,   KEY_RIGHT_Pin)  == GPIO_PIN_RESET)
//    {
//        osDelay(10);
//        if (HAL_GPIO_ReadPin(KEY_UP_GPIO_Port, KEY_UP_Pin) == GPIO_PIN_RESET)
//        {
//            HAL_GPIO_TogglePin(LED1_GPIO_Port, LED1_Pin);
//
//
//            while (HAL_GPIO_ReadPin(KEY_UP_GPIO_Port, KEY_UP_Pin) == GPIO_PIN_RESET);
//            return PressUp;
//        }
//        else if (HAL_GPIO_ReadPin(KEY_DOWN_GPIO_Port, KEY_DOWN_Pin) == GPIO_PIN_RESET)
//        {
//            HAL_GPIO_TogglePin(LED1_GPIO_Port, LED1_Pin);
//
//
//            while (HAL_GPIO_ReadPin(KEY_DOWN_GPIO_Port, KEY_DOWN_Pin) == GPIO_PIN_RESET);
//            return PressDown;
//        }
//        else if (HAL_GPIO_ReadPin(KEY_MID_GPIO_Port, KEY_MID_Pin) == GPIO_PIN_RESET)
//        {
//            HAL_GPIO_TogglePin(LED1_GPIO_Port, LED1_Pin);
//
//
//            while (HAL_GPIO_ReadPin(KEY_MID_GPIO_Port, KEY_MID_Pin) == GPIO_PIN_RESET);
//            return PressMid;
//        }
//        else if (HAL_GPIO_ReadPin(KEY_LEFT_GPIO_Port, KEY_LEFT_Pin) == GPIO_PIN_RESET)
//        {
//            HAL_GPIO_TogglePin(LED1_GPIO_Port, LED1_Pin);
//
//
//            while (HAL_GPIO_ReadPin(KEY_LEFT_GPIO_Port, KEY_LEFT_Pin) == GPIO_PIN_RESET);
//            return PressLeft;
//        }
//        else if (HAL_GPIO_ReadPin(KEY_RIGHT_GPIO_Port, KEY_RIGHT_Pin) == GPIO_PIN_RESET)
//        {
//            HAL_GPIO_TogglePin(LED1_GPIO_Port, LED1_Pin);
//
//
//            while (HAL_GPIO_ReadPin(KEY_RIGHT_GPIO_Port, KEY_RIGHT_Pin) == GPIO_PIN_RESET);
//            return PressRight;
//        }
//        else
//        {
//            return PressNull;
//        }
//    }
//    else
//    {
//        return PressNull;
//    }
}
/* USER CODE END Application */

/************************ (C) COPYRIGHT STMicroelectronics *****END OF FILE****/
